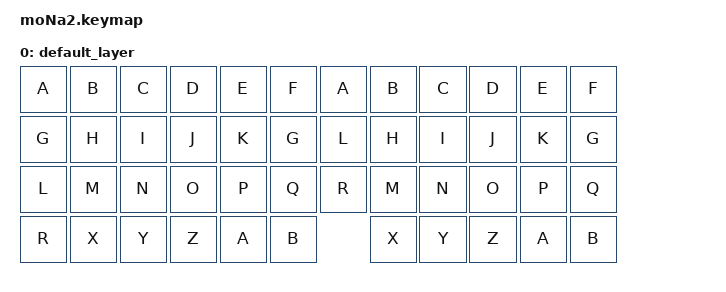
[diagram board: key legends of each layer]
#include <behaviors.dtsi>
#include <dt-bindings/zmk/bt.h>
#include <dt-bindings/zmk/keys.h>
#include <dt-bindings/zmk/pointing.h>

#define ZMK_POINTING_DEFAULT_SCRL_VAL 100
#define MOUSE 6

&mt {
    flavor = "balanced";
    quick-tap-ms = <0>;
};

/ {
    combos { compatible = "zmk,combos"; };

    macros {
        to_layer_0: to_layer_0 {
            compatible = "zmk,behavior-macro-one-param";
            #binding-cells = <1>;
            bindings = <&to 0 &macro_param_1to1 &kp MACRO_PLACEHOLDER>;
            label = "TO_LAYER_0";
        };
    };

    behaviors {
        lt_to_layer_0: lt_to_layer_0 {
            compatible = "zmk,behavior-hold-tap";
            label = "LAYER_TAP_TO_0";
            bindings = <&mo>, <&to_layer_0>;

            #binding-cells = <2>;
            tapping-term-ms = <200>;
        };

        scroll_up_down: behavior_sensor_rotate_mouse_wheel_up_down {
            compatible = "zmk,behavior-sensor-rotate";
            #sensor-binding-cells = <0>;
            bindings = <&msc SCRL_UP>, <&msc SCRL_DOWN>;

            tap-ms = <20>;
        };
    };

    keymap {
        compatible = "zmk,keymap";

        default_layer {
            bindings = <
&kp A             &kp B         &kp C         &kp D             &kp E        &kp F       &kp A             &kp B         &kp C         &kp D             &kp E        &kp F
&kp G             &kp H         &kp I         &kp J             &kp K        &kp G       &kp L             &kp H         &kp I         &kp J             &kp K        &kp G 
&kp L             &kp M         &kp N         &kp O             &kp P        &kp Q       &kp R             &kp M         &kp N         &kp O             &kp P        &kp Q 
&kp R             &kp X         &kp Y         &kp Z             &kp A        &kp B                         &kp X         &kp Y         &kp Z             &kp A        &kp B
            >;
        };     
    };
};
